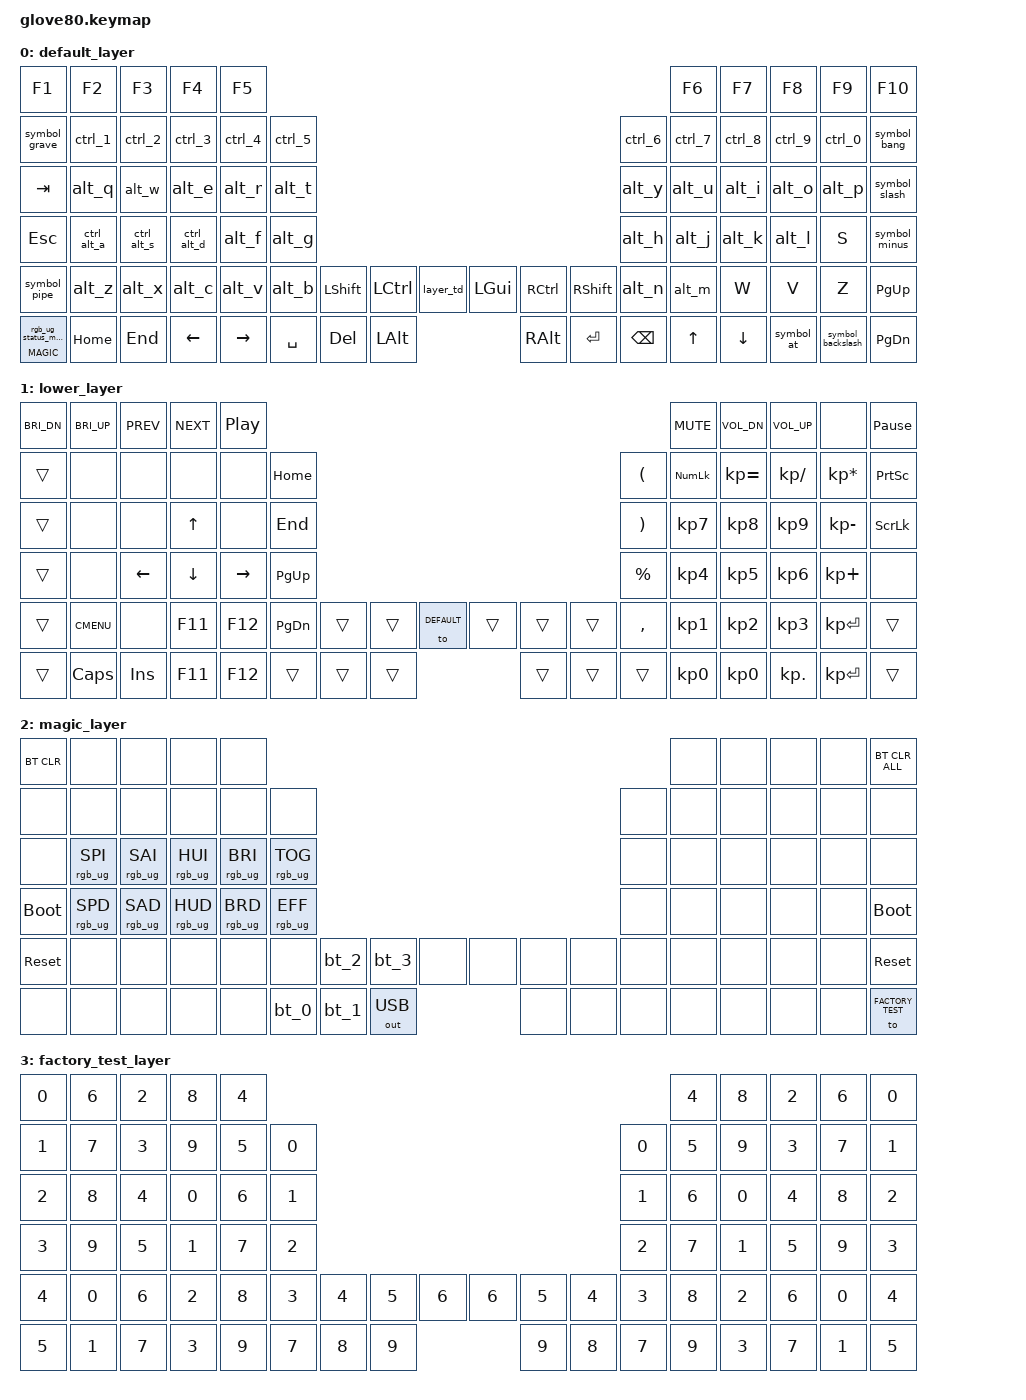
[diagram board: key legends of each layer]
/*
 * Copyright (c) 2020 The ZMK Contributors
 *
 * SPDX-License-Identifier: MIT
 */

#include <behaviors.dtsi>
#include <dt-bindings/zmk/keys.h>
#include <dt-bindings/zmk/bt.h>
#include <dt-bindings/zmk/ext_power.h>
#include <dt-bindings/zmk/outputs.h>
#include <dt-bindings/zmk/rgb.h>

#define HYPER LC(LS(LG(LALT)))
#define MOD_SHORTCUT (MOD_LCTL|MOD_RCTL|MOD_LALT|MOD_LGUI|MOD_RGUI)

// layers
#define DEFAULT 0
#define LOWER 1
#define MAGIC 2
#define FACTORY_TEST 3

/ {
    behaviors {
        // For the "layer" key, it'd nice to be able to use it as either a shift or a toggle.
        // Configure it as a tap dance, so the first tap (or hold) is a &mo and the second tap is a &to
        layer_td: tap_dance_0 {
            compatible = "zmk,behavior-tap-dance";
            label = "LAYER_TAP_DANCE";
            #binding-cells = <0>;
            tapping-term-ms = <200>;
            bindings = <&mo LOWER>, <&to LOWER>;
        };

        magic: magic_hold_tap {
            compatible = "zmk,behavior-hold-tap";
            label = "MAGIC_HOLD_TAP";
            #binding-cells = <2>;
            flavor = "tap-preferred";
            tapping-term-ms = <200>;
            bindings = <&mo>, <&rgb_ug_status_macro>;
        };

        // The Swedish host layout places these symbols on different HID keys.
        // Mod-morph masks the held Shift and emits the requested shifted symbol.
        dvorak_quote: dvorak_quote {
            compatible = "zmk,behavior-mod-morph";
            label = "DVORAK_QUOTE";
            #binding-cells = <0>;
            bindings = <&kp BSLH>, <&kp LS(N2)>;
            mods = <(MOD_LSFT|MOD_RSFT)>;
        };

        dvorak_comma: dvorak_comma {
            compatible = "zmk,behavior-mod-morph";
            label = "DVORAK_COMMA";
            #binding-cells = <0>;
            bindings = <&kp COMMA>, <&kp NON_US_BSLH>;
            mods = <(MOD_LSFT|MOD_RSFT)>;
        };

        dvorak_dot: dvorak_dot {
            compatible = "zmk,behavior-mod-morph";
            label = "DVORAK_DOT";
            #binding-cells = <0>;
            bindings = <&kp DOT>, <&kp LS(NON_US_BSLH)>;
            mods = <(MOD_LSFT|MOD_RSFT)>;
        };

        dvorak_semicolon: dvorak_semicolon {
            compatible = "zmk,behavior-mod-morph";
            label = "DVORAK_SEMICOLON";
            #binding-cells = <0>;
            bindings = <&kp LS(COMMA)>, <&kp LS(DOT)>;
            mods = <(MOD_LSFT|MOD_RSFT)>;
        };

        // Make it so that numbers are symbols and the numbers are on the shfit
        // layer
        symbol_1: symbol_1 {
            compatible = "zmk,behavior-mod-morph";
            label = "SYMBOL_1";
            #binding-cells = <0>;
            bindings = <&kp MINUS>, <&kp N1>;
            mods = <(MOD_LSFT|MOD_RSFT)>;
        };

        symbol_2: symbol_2 {
            compatible = "zmk,behavior-mod-morph";
            label = "SYMBOL_2";
            #binding-cells = <0>;
            bindings = <&kp RA(N8)>, <&kp N2>;
            mods = <(MOD_LSFT|MOD_RSFT)>;
        };

        symbol_3: symbol_3 {
            compatible = "zmk,behavior-mod-morph";
            label = "SYMBOL_3";
            #binding-cells = <0>;
            bindings = <&kp RA(N7)>, <&kp N3>;
            mods = <(MOD_LSFT|MOD_RSFT)>;
        };

        symbol_4: symbol_4 {
            compatible = "zmk,behavior-mod-morph";
            label = "SYMBOL_4";
            #binding-cells = <0>;
            bindings = <&kp LS(N8)>, <&kp N4>;
            mods = <(MOD_LSFT|MOD_RSFT)>;
        };

        symbol_5: symbol_5 {
            compatible = "zmk,behavior-mod-morph";
            label = "SYMBOL_5";
            #binding-cells = <0>;
            bindings = <&kp LS(N6)>, <&kp N5>;
            mods = <(MOD_LSFT|MOD_RSFT)>;
        };

        symbol_6: symbol_6 {
            compatible = "zmk,behavior-mod-morph";
            label = "SYMBOL_6";
            #binding-cells = <0>;
            bindings = <&kp LS(N0)>, <&kp N6>;
            mods = <(MOD_LSFT|MOD_RSFT)>;
        };

        symbol_7: symbol_7 {
            compatible = "zmk,behavior-mod-morph";
            label = "SYMBOL_7";
            #binding-cells = <0>;
            bindings = <&kp LS(N9)>, <&kp N7>;
            mods = <(MOD_LSFT|MOD_RSFT)>;
        };

        symbol_8: symbol_8 {
            compatible = "zmk,behavior-mod-morph";
            label = "SYMBOL_8";
            #binding-cells = <0>;
            bindings = <&kp RA(N0)>, <&kp N8>;
            mods = <(MOD_LSFT|MOD_RSFT)>;
        };

        symbol_9: symbol_9 {
            compatible = "zmk,behavior-mod-morph";
            label = "SYMBOL_9";
            #binding-cells = <0>;
            bindings = <&kp RA(N9)>, <&kp N9>;
            mods = <(MOD_LSFT|MOD_RSFT)>;
        };

        symbol_0: symbol_0 {
            compatible = "zmk,behavior-mod-morph";
            label = "SYMBOL_0";
            #binding-cells = <0>;
            bindings = <&kp LS(BSLH)>, <&kp N0>;
            mods = <(MOD_LSFT|MOD_RSFT)>;
        };

        // Ctrl uses the physical QWERTY number keys instead of the symbol output.
        ctrl_1: ctrl_1 {
            compatible = "zmk,behavior-mod-morph";
            label = "CTRL_1";
            #binding-cells = <0>;
            bindings = <&alt_1>, <&kp N1>;
            mods = <(MOD_LCTL|MOD_RCTL)>;
            keep-mods = <(MOD_LCTL|MOD_RCTL)>;
        };

        ctrl_2: ctrl_2 {
            compatible = "zmk,behavior-mod-morph";
            label = "CTRL_2";
            #binding-cells = <0>;
            bindings = <&alt_2>, <&kp N2>;
            mods = <(MOD_LCTL|MOD_RCTL)>;
            keep-mods = <(MOD_LCTL|MOD_RCTL)>;
        };

        ctrl_3: ctrl_3 {
            compatible = "zmk,behavior-mod-morph";
            label = "CTRL_3";
            #binding-cells = <0>;
            bindings = <&alt_3>, <&kp N3>;
            mods = <(MOD_LCTL|MOD_RCTL)>;
            keep-mods = <(MOD_LCTL|MOD_RCTL)>;
        };

        ctrl_4: ctrl_4 {
            compatible = "zmk,behavior-mod-morph";
            label = "CTRL_4";
            #binding-cells = <0>;
            bindings = <&alt_4>, <&kp N4>;
            mods = <(MOD_LCTL|MOD_RCTL)>;
            keep-mods = <(MOD_LCTL|MOD_RCTL)>;
        };

        ctrl_5: ctrl_5 {
            compatible = "zmk,behavior-mod-morph";
            label = "CTRL_5";
            #binding-cells = <0>;
            bindings = <&alt_5>, <&kp N5>;
            mods = <(MOD_LCTL|MOD_RCTL)>;
            keep-mods = <(MOD_LCTL|MOD_RCTL)>;
        };

        ctrl_6: ctrl_6 {
            compatible = "zmk,behavior-mod-morph";
            label = "CTRL_6";
            #binding-cells = <0>;
            bindings = <&alt_6>, <&kp N6>;
            mods = <(MOD_LCTL|MOD_RCTL)>;
            keep-mods = <(MOD_LCTL|MOD_RCTL)>;
        };

        ctrl_7: ctrl_7 {
            compatible = "zmk,behavior-mod-morph";
            label = "CTRL_7";
            #binding-cells = <0>;
            bindings = <&alt_7>, <&kp N7>;
            mods = <(MOD_LCTL|MOD_RCTL)>;
            keep-mods = <(MOD_LCTL|MOD_RCTL)>;
        };

        ctrl_8: ctrl_8 {
            compatible = "zmk,behavior-mod-morph";
            label = "CTRL_8";
            #binding-cells = <0>;
            bindings = <&alt_8>, <&kp N8>;
            mods = <(MOD_LCTL|MOD_RCTL)>;
            keep-mods = <(MOD_LCTL|MOD_RCTL)>;
        };

        ctrl_9: ctrl_9 {
            compatible = "zmk,behavior-mod-morph";
            label = "CTRL_9";
            #binding-cells = <0>;
            bindings = <&alt_9>, <&kp N9>;
            mods = <(MOD_LCTL|MOD_RCTL)>;
            keep-mods = <(MOD_LCTL|MOD_RCTL)>;
        };

        ctrl_0: ctrl_0 {
            compatible = "zmk,behavior-mod-morph";
            label = "CTRL_0";
            #binding-cells = <0>;
            bindings = <&alt_0>, <&kp N0>;
            mods = <(MOD_LCTL|MOD_RCTL)>;
            keep-mods = <(MOD_LCTL|MOD_RCTL)>;
        };

        // Ctrl, Left Alt, and Super use physical QWERTY digits and retain real modifiers.
        alt_1: alt_1 {
            compatible = "zmk,behavior-mod-morph";
            label = "ALT_1";
            #binding-cells = <0>;
            bindings = <&symbol_1>, <&kp N1>;
            mods = <MOD_SHORTCUT>;
            keep-mods = <MOD_SHORTCUT>;
        };

        alt_2: alt_2 {
            compatible = "zmk,behavior-mod-morph";
            label = "ALT_2";
            #binding-cells = <0>;
            bindings = <&symbol_2>, <&kp N2>;
            mods = <MOD_SHORTCUT>;
            keep-mods = <MOD_SHORTCUT>;
        };

        alt_3: alt_3 {
            compatible = "zmk,behavior-mod-morph";
            label = "ALT_3";
            #binding-cells = <0>;
            bindings = <&symbol_3>, <&kp N3>;
            mods = <MOD_SHORTCUT>;
            keep-mods = <MOD_SHORTCUT>;
        };

        alt_4: alt_4 {
            compatible = "zmk,behavior-mod-morph";
            label = "ALT_4";
            #binding-cells = <0>;
            bindings = <&symbol_4>, <&kp N4>;
            mods = <MOD_SHORTCUT>;
            keep-mods = <MOD_SHORTCUT>;
        };

        alt_5: alt_5 {
            compatible = "zmk,behavior-mod-morph";
            label = "ALT_5";
            #binding-cells = <0>;
            bindings = <&symbol_5>, <&kp N5>;
            mods = <MOD_SHORTCUT>;
            keep-mods = <MOD_SHORTCUT>;
        };

        alt_6: alt_6 {
            compatible = "zmk,behavior-mod-morph";
            label = "ALT_6";
            #binding-cells = <0>;
            bindings = <&symbol_6>, <&kp N6>;
            mods = <MOD_SHORTCUT>;
            keep-mods = <MOD_SHORTCUT>;
        };

        alt_7: alt_7 {
            compatible = "zmk,behavior-mod-morph";
            label = "ALT_7";
            #binding-cells = <0>;
            bindings = <&symbol_7>, <&kp N7>;
            mods = <MOD_SHORTCUT>;
            keep-mods = <MOD_SHORTCUT>;
        };

        alt_8: alt_8 {
            compatible = "zmk,behavior-mod-morph";
            label = "ALT_8";
            #binding-cells = <0>;
            bindings = <&symbol_8>, <&kp N8>;
            mods = <MOD_SHORTCUT>;
            keep-mods = <MOD_SHORTCUT>;
        };

        alt_9: alt_9 {
            compatible = "zmk,behavior-mod-morph";
            label = "ALT_9";
            #binding-cells = <0>;
            bindings = <&symbol_9>, <&kp N9>;
            mods = <MOD_SHORTCUT>;
            keep-mods = <MOD_SHORTCUT>;
        };

        alt_0: alt_0 {
            compatible = "zmk,behavior-mod-morph";
            label = "ALT_0";
            #binding-cells = <0>;
            bindings = <&symbol_0>, <&kp N0>;
            mods = <MOD_SHORTCUT>;
            keep-mods = <MOD_SHORTCUT>;
        };

        symbol_grave: symbol_grave {
            compatible = "zmk,behavior-mod-morph";
            label = "SYMBOL_GRAVE";
            #binding-cells = <0>;
            bindings = <&kp LS(EQUAL)>, <&kp RA(N4)>;
            mods = <(MOD_LSFT|MOD_RSFT)>;
        };

        symbol_bang: symbol_bang {
            compatible = "zmk,behavior-mod-morph";
            label = "SYMBOL_BANG";
            #binding-cells = <0>;
            bindings = <&kp LS(N1)>, <&kp LS(N5)>;
            mods = <(MOD_LSFT|MOD_RSFT)>;
        };

        symbol_slash: symbol_slash {
            compatible = "zmk,behavior-mod-morph";
            label = "SYMBOL_SLASH";
            #binding-cells = <0>;
            bindings = <&kp LS(N7)>, <&kp LS(MINUS)>;
            mods = <(MOD_LSFT|MOD_RSFT)>;
        };

        symbol_minus: symbol_minus {
            compatible = "zmk,behavior-mod-morph";
            label = "SYMBOL_MINUS";
            #binding-cells = <0>;
            bindings = <&kp FSLH>, <&kp LS(FSLH)>;
            mods = <(MOD_LSFT|MOD_RSFT)>;
        };

        symbol_pipe: symbol_pipe {
            compatible = "zmk,behavior-mod-morph";
            label = "SYMBOL_PIPE";
            #binding-cells = <0>;
            bindings = <&kp RA(NON_US_BSLH)>, <&kp RA(NON_US_BSLH)>;
            mods = <(MOD_LSFT|MOD_RSFT)>;
        };

        symbol_at: symbol_at {
            compatible = "zmk,behavior-mod-morph";
            label = "SYMBOL_AT";
            #binding-cells = <0>;
            bindings = <&kp RA(N2)>, <&kp LS(RBKT)>;
            mods = <(MOD_LSFT|MOD_RSFT)>;
        };

        symbol_backslash: symbol_backslash {
            compatible = "zmk,behavior-mod-morph";
            label = "SYMBOL_BACKSLASH";
            #binding-cells = <0>;
            bindings = <&kp RA(MINUS)>, <&kp LS(N3)>;
            mods = <(MOD_LSFT|MOD_RSFT)>;
        };

        // Ctrl, Left Alt, and Super shortcuts follow physical QWERTY positions.
        alt_q: alt_q {
            compatible = "zmk,behavior-mod-morph";
            label = "ALT_Q";
            #binding-cells = <0>;
            bindings = <&dvorak_quote>, <&kp Q>;
            mods = <MOD_SHORTCUT>;
            keep-mods = <MOD_SHORTCUT>;
        };

        alt_w: alt_w {
            compatible = "zmk,behavior-mod-morph";
            label = "ALT_W";
            #binding-cells = <0>;
            bindings = <&dvorak_comma>, <&kp W>;
            mods = <MOD_SHORTCUT>;
            keep-mods = <MOD_SHORTCUT>;
        };

        alt_e: alt_e {
            compatible = "zmk,behavior-mod-morph";
            label = "ALT_E";
            #binding-cells = <0>;
            bindings = <&dvorak_dot>, <&kp E>;
            mods = <MOD_SHORTCUT>;
            keep-mods = <MOD_SHORTCUT>;
        };

        alt_r: alt_r {
            compatible = "zmk,behavior-mod-morph";
            label = "ALT_R";
            #binding-cells = <0>;
            bindings = <&kp P>, <&kp R>;
            mods = <MOD_SHORTCUT>;
            keep-mods = <MOD_SHORTCUT>;
        };

        alt_t: alt_t {
            compatible = "zmk,behavior-mod-morph";
            label = "ALT_T";
            #binding-cells = <0>;
            bindings = <&kp Y>, <&kp T>;
            mods = <MOD_SHORTCUT>;
            keep-mods = <MOD_SHORTCUT>;
        };

        alt_y: alt_y {
            compatible = "zmk,behavior-mod-morph";
            label = "ALT_Y";
            #binding-cells = <0>;
            bindings = <&kp F>, <&kp Y>;
            mods = <MOD_SHORTCUT>;
            keep-mods = <MOD_SHORTCUT>;
        };

        alt_u: alt_u {
            compatible = "zmk,behavior-mod-morph";
            label = "ALT_U";
            #binding-cells = <0>;
            bindings = <&kp G>, <&kp U>;
            mods = <MOD_SHORTCUT>;
            keep-mods = <MOD_SHORTCUT>;
        };

        alt_i: alt_i {
            compatible = "zmk,behavior-mod-morph";
            label = "ALT_I";
            #binding-cells = <0>;
            bindings = <&kp C>, <&kp I>;
            mods = <MOD_SHORTCUT>;
            keep-mods = <MOD_SHORTCUT>;
        };

        alt_o: alt_o {
            compatible = "zmk,behavior-mod-morph";
            label = "ALT_O";
            #binding-cells = <0>;
            bindings = <&kp R>, <&kp O>;
            mods = <MOD_SHORTCUT>;
            keep-mods = <MOD_SHORTCUT>;
        };

        alt_p: alt_p {
            compatible = "zmk,behavior-mod-morph";
            label = "ALT_P";
            #binding-cells = <0>;
            bindings = <&kp L>, <&kp P>;
            mods = <MOD_SHORTCUT>;
            keep-mods = <MOD_SHORTCUT>;
        };

        // A/S/D consume either Alt and emit the Swedish å/ä/ö HID positions.
        alt_a: alt_a {
            compatible = "zmk,behavior-mod-morph";
            label = "ALT_A";
            #binding-cells = <0>;
            bindings = <&kp A>, <&kp LBKT>;
            mods = <(MOD_LALT|MOD_RALT)>;
        };

        gui_s: gui_s {
            compatible = "zmk,behavior-mod-morph";
            label = "GUI_S";
            #binding-cells = <0>;
            bindings = <&kp O>, <&kp S>;
            mods = <(MOD_LGUI|MOD_RGUI)>;
            keep-mods = <(MOD_LGUI|MOD_RGUI)>;
        };

        alt_s: alt_s {
            compatible = "zmk,behavior-mod-morph";
            label = "ALT_S";
            #binding-cells = <0>;
            bindings = <&gui_s>, <&kp SQT>;
            mods = <(MOD_LALT|MOD_RALT)>;
        };

        gui_d: gui_d {
            compatible = "zmk,behavior-mod-morph";
            label = "GUI_D";
            #binding-cells = <0>;
            bindings = <&kp E>, <&kp D>;
            mods = <(MOD_LGUI|MOD_RGUI)>;
            keep-mods = <(MOD_LGUI|MOD_RGUI)>;
        };

        alt_d: alt_d {
            compatible = "zmk,behavior-mod-morph";
            label = "ALT_D";
            #binding-cells = <0>;
            bindings = <&gui_d>, <&kp SEMI>;
            mods = <(MOD_LALT|MOD_RALT)>;
        };

        // Ctrl takes precedence over the Swedish exceptions for Ctrl+Alt shortcuts.
        ctrl_alt_a: ctrl_alt_a {
            compatible = "zmk,behavior-mod-morph";
            label = "CTRL_ALT_A";
            #binding-cells = <0>;
            bindings = <&alt_a>, <&kp A>;
            mods = <(MOD_LCTL|MOD_RCTL)>;
            keep-mods = <(MOD_LCTL|MOD_RCTL)>;
        };

        ctrl_alt_s: ctrl_alt_s {
            compatible = "zmk,behavior-mod-morph";
            label = "CTRL_ALT_S";
            #binding-cells = <0>;
            bindings = <&alt_s>, <&kp S>;
            mods = <(MOD_LCTL|MOD_RCTL)>;
            keep-mods = <(MOD_LCTL|MOD_RCTL)>;
        };

        ctrl_alt_d: ctrl_alt_d {
            compatible = "zmk,behavior-mod-morph";
            label = "CTRL_ALT_D";
            #binding-cells = <0>;
            bindings = <&alt_d>, <&kp D>;
            mods = <(MOD_LCTL|MOD_RCTL)>;
            keep-mods = <(MOD_LCTL|MOD_RCTL)>;
        };

        alt_f: alt_f {
            compatible = "zmk,behavior-mod-morph";
            label = "ALT_F";
            #binding-cells = <0>;
            bindings = <&kp U>, <&kp F>;
            mods = <MOD_SHORTCUT>;
            keep-mods = <MOD_SHORTCUT>;
        };

        alt_g: alt_g {
            compatible = "zmk,behavior-mod-morph";
            label = "ALT_G";
            #binding-cells = <0>;
            bindings = <&kp I>, <&kp G>;
            mods = <MOD_SHORTCUT>;
            keep-mods = <MOD_SHORTCUT>;
        };

        alt_h: alt_h {
            compatible = "zmk,behavior-mod-morph";
            label = "ALT_H";
            #binding-cells = <0>;
            bindings = <&kp D>, <&kp H>;
            mods = <MOD_SHORTCUT>;
            keep-mods = <MOD_SHORTCUT>;
        };

        alt_j: alt_j {
            compatible = "zmk,behavior-mod-morph";
            label = "ALT_J";
            #binding-cells = <0>;
            bindings = <&kp H>, <&kp J>;
            mods = <MOD_SHORTCUT>;
            keep-mods = <MOD_SHORTCUT>;
        };

        alt_k: alt_k {
            compatible = "zmk,behavior-mod-morph";
            label = "ALT_K";
            #binding-cells = <0>;
            bindings = <&kp T>, <&kp K>;
            mods = <MOD_SHORTCUT>;
            keep-mods = <MOD_SHORTCUT>;
        };

        alt_l: alt_l {
            compatible = "zmk,behavior-mod-morph";
            label = "ALT_L";
            #binding-cells = <0>;
            bindings = <&kp N>, <&kp L>;
            mods = <MOD_SHORTCUT>;
            keep-mods = <MOD_SHORTCUT>;
        };

        alt_z: alt_z {
            compatible = "zmk,behavior-mod-morph";
            label = "ALT_Z";
            #binding-cells = <0>;
            bindings = <&dvorak_semicolon>, <&kp Z>;
            mods = <MOD_SHORTCUT>;
            keep-mods = <MOD_SHORTCUT>;
        };

        alt_x: alt_x {
            compatible = "zmk,behavior-mod-morph";
            label = "ALT_X";
            #binding-cells = <0>;
            bindings = <&kp Q>, <&kp X>;
            mods = <MOD_SHORTCUT>;
            keep-mods = <MOD_SHORTCUT>;
        };

        alt_c: alt_c {
            compatible = "zmk,behavior-mod-morph";
            label = "ALT_C";
            #binding-cells = <0>;
            bindings = <&kp J>, <&kp C>;
            mods = <MOD_SHORTCUT>;
            keep-mods = <MOD_SHORTCUT>;
        };

        alt_v: alt_v {
            compatible = "zmk,behavior-mod-morph";
            label = "ALT_V";
            #binding-cells = <0>;
            bindings = <&kp K>, <&kp V>;
            mods = <MOD_SHORTCUT>;
            keep-mods = <MOD_SHORTCUT>;
        };

        alt_b: alt_b {
            compatible = "zmk,behavior-mod-morph";
            label = "ALT_B";
            #binding-cells = <0>;
            bindings = <&kp X>, <&kp B>;
            mods = <MOD_SHORTCUT>;
            keep-mods = <MOD_SHORTCUT>;
        };

        alt_n: alt_n {
            compatible = "zmk,behavior-mod-morph";
            label = "ALT_N";
            #binding-cells = <0>;
            bindings = <&kp B>, <&kp N>;
            mods = <MOD_SHORTCUT>;
            keep-mods = <MOD_SHORTCUT>;
        };

        alt_m: alt_m {
            compatible = "zmk,behavior-mod-morph";
            label = "ALT_M";
            #binding-cells = <0>;
            bindings = <&kp M>, <&kp M>;
            mods = <MOD_SHORTCUT>;
            keep-mods = <MOD_SHORTCUT>;
        };
    };

    macros {
        rgb_ug_status_macro: rgb_ug_status_macro_0 {
            label = "RGB_UG_STATUS";
            compatible = "zmk,behavior-macro";
            #binding-cells = <0>;
            bindings
                = <&rgb_ug RGB_STATUS>;
        };

        bt_0: bt_profile_macro_0 {
            label = "BT_0";
            compatible = "zmk,behavior-macro";
            #binding-cells = <0>;
            bindings
                = <&out OUT_BLE>,
                  <&bt BT_SEL 0>;
        };

        bt_1: bt_profile_macro_1 {
            label = "BT_1";
            compatible = "zmk,behavior-macro";
            #binding-cells = <0>;
            bindings
                = <&out OUT_BLE>,
                  <&bt BT_SEL 1>;
        };

        bt_2: bt_profile_macro_2 {
            label = "BT_2";
            compatible = "zmk,behavior-macro";
            #binding-cells = <0>;
            bindings
                = <&out OUT_BLE>,
                  <&bt BT_SEL 2>;
        };

        bt_3: bt_profile_macro_3 {
            label = "BT_3";
            compatible = "zmk,behavior-macro";
            #binding-cells = <0>;
            bindings
                = <&out OUT_BLE>,
                  <&bt BT_SEL 3>;
        };
    };

    keymap {
        compatible = "zmk,keymap";

        default_layer {
            // ---------------------------------------------------------------------------------------------------------------------------------
            // |  F1   |  F2 |  F3 |  F4  |  F5  |                                                               |  F6   |  F7   |  F8  |   F9  |  F10 |
            // |  `    |  +  |  [  |  {   |  (   |  &   |                                                 |  =   |   )   |   }   |  ]   |   *   |   !  |
            // |  TAB  |  '  |  ,  |  .   |  P   |  Y   |                                                 |  F   |   G   |   C   |  R   |   L   |   /  |
            // |  ESC  |  A  |  O  |  E   |  U   |  I   |                                                 |  D   |   H   |   T   |  N   |   S   |   -  |
            // |   |   |  ;  |  Q  |  J   |  K   |  X   | LSHFT | LCTRL | LOWER | | LGUI  | RCTRL | RSHFT |  B   |   M   |   W   |  V   |   Z   | PGUP |
            // | MAGIC | HOME| END | LEFT | RIGHT|      | SPACE | DEL   | LALT  | | RALT  | RET   | BSPC  |      |  UP   | DOWN  |  @   |   \   | PGDN |

            bindings = <
            &kp F1         &kp F2   &kp F3      &kp F4      &kp F5                                                                                         &kp F6  &kp F7      &kp F8      &kp F9      &kp F10
            &symbol_grave  &ctrl_1   &ctrl_2     &ctrl_3     &ctrl_4     &ctrl_5                                                                    &ctrl_6 &ctrl_7 &ctrl_8      &ctrl_9     &ctrl_0     &symbol_bang
            &kp TAB        &alt_q    &alt_w      &alt_e      &alt_r      &alt_t                                                                     &alt_y &alt_u &alt_i        &alt_o      &alt_p      &symbol_slash
            &kp ESC        &ctrl_alt_a &ctrl_alt_s &ctrl_alt_d &alt_f   &alt_g                                                                      &alt_h &alt_j &alt_k        &alt_l      &kp S       &symbol_minus
            &symbol_pipe   &alt_z    &alt_x      &alt_c      &alt_v      &alt_b  &kp LSHFT   &kp LCTRL   &layer_td  &kp LGUI  &kp RCTRL &kp RSHFT   &alt_n &alt_m &kp W        &kp V       &kp Z       &kp PG_UP
            &magic MAGIC 0 &kp HOME &kp END     &kp LEFT    &kp RIGHT           &kp SPACE   &kp DEL     &kp LALT   &kp RALT  &kp RET   &kp BSPC            &kp UP  &kp DOWN    &symbol_at  &symbol_backslash &kp PG_DN
            >;
        };

        lower_layer {
            bindings = <
            &kp C_BRI_DN      &kp C_BRI_UP        &kp C_PREV      &kp C_NEXT      &kp C_PP                                                                                                           &kp C_MUTE   &kp C_VOL_DN &kp C_VOL_UP  &none           &kp PAUSE_BREAK
            &trans            &none               &none           &none           &none           &kp HOME                                                                              &kp LPAR     &kp KP_NUM   &kp KP_EQUAL &kp KP_DIVIDE &kp KP_MULTIPLY &kp PSCRN
            &trans            &none               &none           &kp UP          &none           &kp END                                                                               &kp RPAR     &kp KP_N7    &kp KP_N8    &kp KP_N9     &kp KP_MINUS    &kp SLCK
            &trans            &none               &kp LEFT        &kp DOWN        &kp RIGHT       &kp PG_UP                                                                             &kp PRCNT    &kp KP_N4    &kp KP_N5    &kp KP_N6     &kp KP_PLUS     &none
            &trans            &kp K_CMENU         &none           &kp F11         &kp F12         &kp PG_DN       &trans      &trans      &to DEFAULT &trans      &trans      &trans    &kp COMMA    &kp KP_N1    &kp KP_N2    &kp KP_N3     &kp KP_ENTER    &trans
            &trans            &kp CAPS            &kp INS         &kp F11         &kp F12                         &trans      &trans      &trans      &trans      &trans      &trans                 &kp KP_N0    &kp KP_N0    &kp KP_DOT    &kp KP_ENTER    &trans
            >;
        };

        magic_layer {
            bindings = <
            &bt BT_CLR        &none               &none           &none           &none                                                                                                           &none      &none      &none      &none      &bt BT_CLR_ALL
            &none             &none               &none           &none           &none           &none                                                                                &none      &none      &none      &none      &none      &none
            &none             &rgb_ug RGB_SPI     &rgb_ug RGB_SAI &rgb_ug RGB_HUI &rgb_ug RGB_BRI &rgb_ug RGB_TOG                                                                      &none      &none      &none      &none      &none      &none
            &bootloader       &rgb_ug RGB_SPD     &rgb_ug RGB_SAD &rgb_ug RGB_HUD &rgb_ug RGB_BRD &rgb_ug RGB_EFF                                                                      &none      &none      &none      &none      &none      &bootloader
            &sys_reset        &none               &none           &none           &none           &none           &bt_2     &bt_3     &none            &none     &none     &none       &none      &none      &none      &none      &none      &sys_reset
            &none             &none               &none           &none           &none                           &bt_0     &bt_1     &out OUT_USB     &none     &none     &none                  &none      &none      &none      &none      &to FACTORY_TEST
            >;
        };

        factory_test_layer {
            bindings = <
            &kp N0   &kp N6   &kp N2   &kp N8   &kp N4                                                                              &kp N4   &kp N8   &kp N2   &kp N6   &kp N0
            &kp N1   &kp N7   &kp N3   &kp N9   &kp N5   &kp N0                                                            &kp N0   &kp N5   &kp N9   &kp N3   &kp N7   &kp N1
            &kp N2   &kp N8   &kp N4   &kp N0   &kp N6   &kp N1                                                            &kp N1   &kp N6   &kp N0   &kp N4   &kp N8   &kp N2
            &kp N3   &kp N9   &kp N5   &kp N1   &kp N7   &kp N2                                                            &kp N2   &kp N7   &kp N1   &kp N5   &kp N9   &kp N3
            &kp N4   &kp N0   &kp N6   &kp N2   &kp N8   &kp N3   &kp N4   &kp N5   &kp N6      &kp N6   &kp N5   &kp N4   &kp N3   &kp N8   &kp N2   &kp N6   &kp N0   &kp N4
            &kp N5   &kp N1   &kp N7   &kp N3   &kp N9            &kp N7   &kp N8   &kp N9      &kp N9   &kp N8   &kp N7            &kp N9   &kp N3   &kp N7   &kp N1   &kp N5
            >;
        };
    };
};
